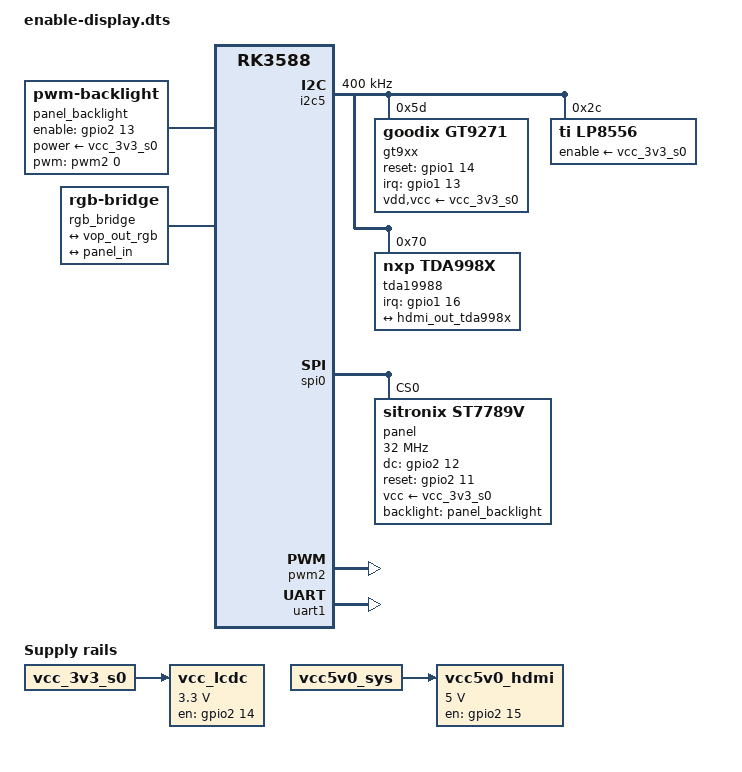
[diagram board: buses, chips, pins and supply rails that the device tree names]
// SPDX-License-Identifier: (GPL-2.0+ OR MIT)
/dts-v1/;

#include "../include/rk3588-soc.dtsi"

// Display Overlay - Enable HDMI, MIPI DSI, and touch interfaces

// Enable I2C5 for touch and display controllers
&i2c5 {
    status = "okay";
    clock-frequency = <400000>;

    // Touch controller
    gt9xx: touchscreen@5d {
        compatible = "goodix,gt9271";
        reg = <0x5d>;
        interrupt-parent = <&gpio1>;
        interrupts = <13 2>; // GPIO1_B5, falling edge
        reset-gpios = <&gpio1 14 0>; // GPIO1_B6, active low
        irq-gpios = <&gpio1 13 2>; // GPIO1_B5, falling edge
        touchscreen-size-x = <1024>;
        touchscreen-size-y = <600>;
        touchscreen-inverted-x;
        touchscreen-inverted-y;
        touchscreen-swapped-x-y;
        pinctrl-names = "default";
        pinctrl-0 = <&touch_gpio>;
        vdd-supply = <&vcc_3v3_s0>;
        vcc-supply = <&vcc_3v3_s0>;
    };

    // Display backlight controller
    lp8556: backlight@2c {
        compatible = "ti,lp8556";
        reg = <0x2c>;
        enable-supply = <&vcc_3v3_s0>;
        
        backlight {
            compatible = "ti,lp8556-backlight";
            default-brightness-level = <85>;
        };
    };

    // HDMI level shifter
    tda19988: hdmi-encoder@70 {
        compatible = "nxp,tda998x";
        reg = <0x70>;
        interrupt-parent = <&gpio1>;
        interrupts = <16 1>; // GPIO1_C0, rising edge
        pinctrl-names = "default";
        pinctrl-0 = <&hdmi_cec>;

        video-ports = <0x234501>;

        ports {
            port@0 {
                tda998x_in: endpoint {
                    remote-endpoint = <&hdmi_out_tda998x>;
                };
            };
        };
    };
};

// Configure SPI0 for display panel control  
&spi0 {
    status = "okay";
    pinctrl-names = "default";
    pinctrl-0 = <&spi0m2_pins>;
    
    panel: panel@0 {
        compatible = "sitronix,st7789v";
        reg = <0>;
        spi-max-frequency = <32000000>;
        dc-gpios = <&gpio2 12 0>; // GPIO2_B4
        reset-gpios = <&gpio2 11 0>; // GPIO2_B3
        rotation = <270>;
        
        backlight = <&panel_backlight>;
        vcc-supply = <&vcc_3v3_s0>;

        display-timings {
            native-mode = <&timing0>;
            timing0: timing0 {
                clock-frequency = <27000000>;
                hactive = <320>;
                vactive = <240>;
                hfront-porch = <38>;
                hsync-len = <10>;
                hback-porch = <10>;
                vfront-porch = <8>;
                vsync-len = <2>;
                vback-porch = <6>;
                hsync-active = <0>;
                vsync-active = <0>;
                de-active = <1>;
                pixelclk-active = <1>;
            };
        };
    };
};

// Add additional PWM for panel backlight
&pwm2 {
    status = "okay";
    pinctrl-names = "default";
    pinctrl-0 = <&pwm2m0_pins>;
};

// Configure UART1 for debug on display connector
&uart1 {
    status = "okay";
    pinctrl-names = "default";
    pinctrl-0 = <&uart1m1_xfer>;
};

// Add root-level display configurations
/ {
    // Panel backlight
    panel_backlight: panel-backlight {
        compatible = "pwm-backlight";
        pwms = <&pwm2 0 25000 0>;
        brightness-levels = <
             0  1  2  3  4  5  6  7
             8  9 10 11 12 13 14 15
            16 17 18 19 20 21 22 23
            24 25 26 27 28 29 30 31
            32 33 34 35 36 37 38 39
            40 41 42 43 44 45 46 47
            48 49 50 51 52 53 54 55
            56 57 58 59 60 61 62 63
            64 65 66 67 68 69 70 71
            72 73 74 75 76 77 78 79
            80 81 82 83 84 85 86 87
            88 89 90 91 92 93 94 95
            96 97 98 99 100 101 102 103
            104 105 106 107 108 109 110 111
            112 113 114 115 116 117 118 119
            120 121 122 123 124 125 126 127
            128 129 130 131 132 133 134 135
            136 137 138 139 140 141 142 143
            144 145 146 147 148 149 150 151
            152 153 154 155 156 157 158 159
            160 161 162 163 164 165 166 167
            168 169 170 171 172 173 174 175
            176 177 178 179 180 181 182 183
            184 185 186 187 188 189 190 191
            192 193 194 195 196 197 198 199
            200 201 202 203 204 205 206 207
            208 209 210 211 212 213 214 215
            216 217 218 219 220 221 222 223
            224 225 226 227 228 229 230 231
            232 233 234 235 236 237 238 239
            240 241 242 243 244 245 246 247
            248 249 250 251 252 253 254 255>;
        default-brightness-level = <200>;
        enable-gpios = <&gpio2 13 0>; // GPIO2_B5
        power-supply = <&vcc_3v3_s0>;
        pinctrl-names = "default";
        pinctrl-0 = <&bl_en>;
    };

    // Display regulators
    vcc_lcdc: vcc-lcdc-regulator {
        compatible = "regulator-fixed";
        regulator-name = "vcc_lcdc";
        regulator-min-microvolt = <3300000>;
        regulator-max-microvolt = <3300000>;
        gpio = <&gpio2 14 0>; // GPIO2_B6
        enable-active-high;
        regulator-boot-on;
        vin-supply = <&vcc_3v3_s0>;
        pinctrl-names = "default";
        pinctrl-0 = <&lcd_pwr_en>;
    };

    // HDMI power supply
    vcc5v0_hdmi: vcc5v0-hdmi-regulator {
        compatible = "regulator-fixed";
        regulator-name = "vcc5v0_hdmi";
        regulator-min-microvolt = <5000000>;
        regulator-max-microvolt = <5000000>;
        gpio = <&gpio2 15 0>; // GPIO2_B7  
        enable-active-high;
        regulator-always-on;
        vin-supply = <&vcc5v0_sys>;
        pinctrl-names = "default";
        pinctrl-0 = <&hdmi_pwr_en>;
    };

    // RGB to MIPI bridge
    rgb_bridge: rgb-bridge {
        compatible = "rgb-bridge";
        #address-cells = <1>;
        #size-cells = <0>;
        
        ports {
            #address-cells = <1>;
            #size-cells = <0>;
            
            port@0 {
                reg = <0>;
                rgb_in: endpoint {
                    remote-endpoint = <&vop_out_rgb>;
                };
            };
            
            port@1 {
                reg = <1>;
                rgb_out: endpoint {
                    remote-endpoint = <&panel_in>;
                };
            };
        };
    };
};
